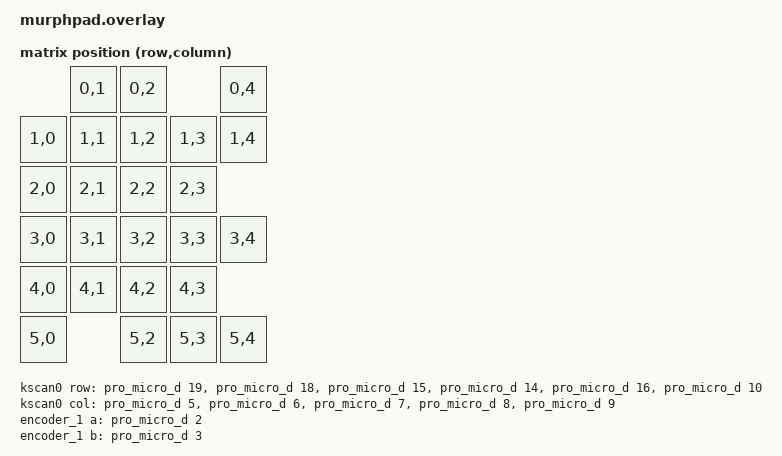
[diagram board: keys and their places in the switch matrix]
#include <dt-bindings/zmk/matrix_transform.h>

/ {
    chosen {
        //zephyr,display = &oled;
        zmk,kscan = &kscan0;
    };

    kscan0: kscan {
        compatible = "zmk,kscan-gpio-matrix";
        map = <
					RC(0,1) RC(0,2) 		RC(0,4)
            RC(1,0) RC(1,1) RC(1,2) RC(1,3) RC(1,4)
            RC(2,0) RC(2,1) RC(2,2) RC(2,3)
            RC(3,0) RC(3,1) RC(3,2) RC(3,3) RC(3,4)
            RC(4,0) RC(4,1) RC(4,2) RC(4,3)
            RC(5,0)			RC(5,2) RC(5,3) RC(5,4)
        >;
		wakeup-source;
		
        row-gpios
            = <&pro_micro_d 19 (GPIO_ACTIVE_HIGH | GPIO_PULL_DOWN)>
            , <&pro_micro_d 18 (GPIO_ACTIVE_HIGH | GPIO_PULL_DOWN)>
            , <&pro_micro_d 15 (GPIO_ACTIVE_HIGH | GPIO_PULL_DOWN)>
            , <&pro_micro_d 14 (GPIO_ACTIVE_HIGH | GPIO_PULL_DOWN)>
            , <&pro_micro_d 16 (GPIO_ACTIVE_HIGH | GPIO_PULL_DOWN)>
            , <&pro_micro_d 10 (GPIO_ACTIVE_HIGH | GPIO_PULL_DOWN)>
            ;
        col-gpios
            = <&pro_micro_d 5 GPIO_ACTIVE_HIGH>
            , <&pro_micro_d 6 GPIO_ACTIVE_HIGH>
            , <&pro_micro_d 7 GPIO_ACTIVE_HIGH>
            , <&pro_micro_d 8 GPIO_ACTIVE_HIGH>
            , <&pro_micro_d 9 GPIO_ACTIVE_HIGH>
            ;
    };

    encoder_1: encoder_1 {
        compatible = "alps,ec11";
        a-gpios = <&pro_micro_d 2 (GPIO_ACTIVE_LOW | GPIO_PULL_UP)>;
        b-gpios = <&pro_micro_d 3 (GPIO_ACTIVE_LOW | GPIO_PULL_UP)>;
        steps = <80>;
        status = "disabled";
    };

};
